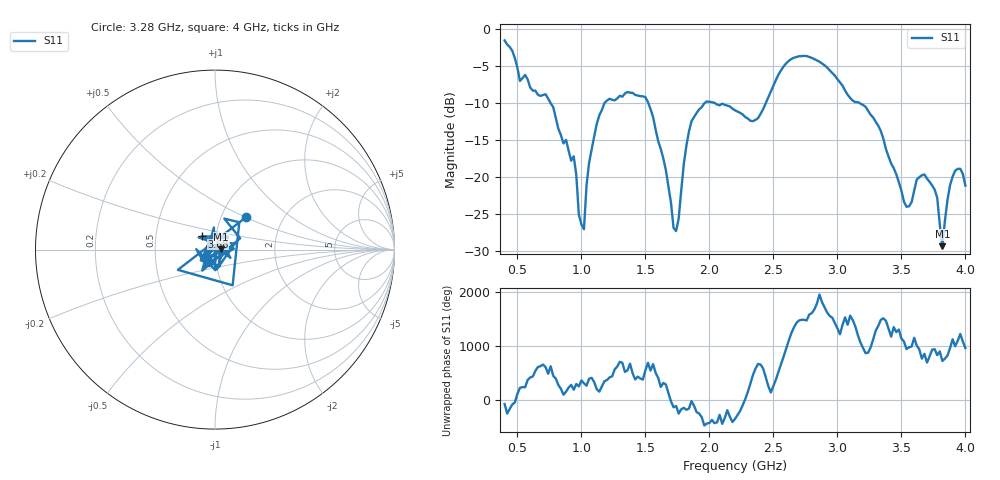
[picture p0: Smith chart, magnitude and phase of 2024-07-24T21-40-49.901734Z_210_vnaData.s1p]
!Created with skrf (http://scikit-rf.org).
# Hz S RI R 50.0
!freq ReS11 ImS11
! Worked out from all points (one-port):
!   181 points, 400 MHz to 4 GHz, reference 50 ohm
!   lowest |S11| = -29.3 dB at 3.82 GHz (marker M1), VSWR 1.07, Z = 53.5 + j0.124 ohm
!   |S11| at or under -10 dB: 758.8 MHz to 1.18 GHz (421.3 MHz wide, 43.5 % of centre); 1.523 GHz to 1.964 GHz (441.1 MHz wide, 25.3 % of centre); 3.172 GHz to end of sweep (the widest 3 of 4)
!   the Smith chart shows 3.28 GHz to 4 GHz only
!   S11 on the Smith chart (normalised r, x): 3.28 GHz: 1.31, +0.51; 3.68 GHz: 0.85, +0.13; 4 GHz: 0.91, -0.14
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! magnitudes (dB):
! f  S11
! 400 MHz  -1.5
! 520 MHz  -7.0
! 780 MHz  -10.6
! 860 MHz  -15.5
! 940 MHz  -17.2
! 980 MHz  -25.1
! 1.02 GHz  -27.1
! 1.06 GHz  -18.1
! 1.12 GHz  -12.8
! 1.3 GHz  -9.0
! 1.52 GHz  -9.9
! 1.66 GHz  -19.1
! 1.72 GHz  -26.9
! 1.76 GHz  -25.6
! 1.8 GHz  -18.2
! 1.86 GHz  -12.5
! 1.98 GHz  -9.8
! 2.2 GHz  -11.0
! 2.38 GHz  -12.0
! 2.66 GHz  -3.9
! 3.1 GHz  -9.3
! 3.28 GHz  -12.0
! 3.56 GHz  -24.0
! 3.68 GHz  -19.7
! 3.78 GHz  -22.8
! 3.82 GHz  -29.3
! 3.9 GHz  -20.0
! 4 GHz  -21.2
